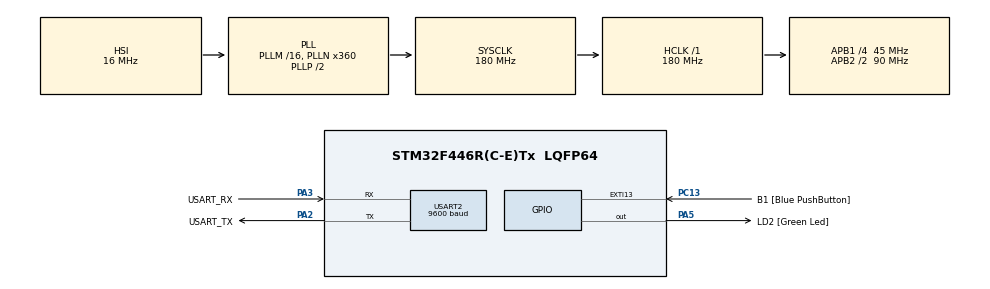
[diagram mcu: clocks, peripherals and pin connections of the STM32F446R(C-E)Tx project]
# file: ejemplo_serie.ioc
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Mcu.Family=STM32F4
Mcu.Name=STM32F446R(C-E)Tx
Mcu.Package=LQFP64
NVIC.PriorityGroup=NVIC_PRIORITYGROUP_0
NVIC.USART2_IRQn=true\:0\:0\:false\:false\:true\:true\:true\:true
PA13.GPIO_Label=TMS
PA13.Mode=Serial_Wire
PA13.Signal=SYS_JTMS-SWDIO
PA14.GPIO_Label=TCK
PA14.Mode=Serial_Wire
PA14.Signal=SYS_JTCK-SWCLK
PA2.GPIO_Label=USART_TX
PA2.Mode=Asynchronous
PA2.Signal=USART2_TX
PA3.GPIO_Label=USART_RX
PA3.Mode=Asynchronous
PA3.Signal=USART2_RX
PA5.GPIO_Label=LD2 [Green Led]
PA5.Signal=GPIO_Output
PB3.GPIO_Label=SWO
PB3.Signal=SYS_JTDO-SWO
PC13.GPIO_Label=B1 [Blue PushButton]
PC13.GPIO_ModeDefaultEXTI=GPIO_MODE_IT_FALLING
PC13.Signal=GPXTI13
PC14-OSC32_IN.Mode=LSE-External-Oscillator
PC14-OSC32_IN.Signal=RCC_OSC32_IN
PC15-OSC32_OUT.Mode=LSE-External-Oscillator
PC15-OSC32_OUT.Signal=RCC_OSC32_OUT
PH0-OSC_IN.Mode=HSE-External-Oscillator
PH0-OSC_IN.Signal=RCC_OSC_IN
PH1-OSC_OUT.Mode=HSE-External-Oscillator
PH1-OSC_OUT.Signal=RCC_OSC_OUT
ProjectManager.HeapSize=0x200
ProjectManager.StackSize=0x400
ProjectManager.TargetToolchain=STM32CubeIDE
RCC.48MHZClocksFreq_Value=84000000
RCC.AHBFreq_Value=180000000
RCC.APB1CLKDivider=RCC_HCLK_DIV4
RCC.APB1Freq_Value=45000000
RCC.APB1TimFreq_Value=90000000
RCC.APB2CLKDivider=RCC_HCLK_DIV2
RCC.APB2Freq_Value=90000000
RCC.APB2TimFreq_Value=180000000
RCC.CortexFreq_Value=180000000
RCC.FLatency-AdvancedSettings=FLASH_LATENCY_5
RCC.HCLKFreq_Value=180000000
RCC.HSE_VALUE=8000000
RCC.HSI_VALUE=16000000
RCC.PLLN=360
RCC.SYSCLKFreq_VALUE=180000000
RCC.SYSCLKSource=RCC_SYSCLKSOURCE_PLLCLK
RCC.USBFreq_Value=180000000
RCC.VCOOutputFreq_Value=360000000
USART2.BaudRate=9600
USART2.VirtualMode=VM_ASYNC
board=NUCLEO-F446RE

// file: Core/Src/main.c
/* USER CODE BEGIN Header */
/**
  ******************************************************************************
  * @file           : main.c
  * @brief          : Main program body
  ******************************************************************************
  * @attention
  *
  * Copyright (c) 2026 STMicroelectronics.
  * All rights reserved.
  *
  * This software is licensed under terms that can be found in the LICENSE file
  * in the root directory of this software component.
  * If no LICENSE file comes with this software, it is provided AS-IS.
  *
  ******************************************************************************
  */
/* USER CODE END Header */
#include "main.h"

/* USER CODE BEGIN Includes */
#include "cola.h"
#include <ctype.h>
#include <string.h>
#include <stdio.h>
/* USER CODE END Includes */

/* USER CODE BEGIN PM */
#define LEN_USART_BUFFERS 	(256)
#define ESPERA_LED_MS 		(250)
/* USER CODE END PM */

UART_HandleTypeDef huart2;

/* USER CODE BEGIN PV */
uint8_t rxserie_buffer[LEN_USART_BUFFERS];
uint8_t txserie_buffer[LEN_USART_BUFFERS];
uint8_t dato_rx;
uint8_t dato_tx;
uint8_t tx_en_progreso;
cola_t cola_rx;
cola_t cola_tx;
/* USER CODE END PV */

void SystemClock_Config(void);
static void MX_GPIO_Init(void);
static void MX_USART2_UART_Init(void);

/* USER CODE BEGIN 0 */
void HAL_UART_TxCpltCallback(UART_HandleTypeDef *huart)
{
	if(huart->Instance == USART2){
	        if(cola_haydatos(&cola_tx)){
	            dato_tx = cola_desencolar(&cola_tx);
	            tx_en_progreso = 1;
	            HAL_UART_Transmit_IT(huart, &dato_tx, 1);
	        }
	        else {
	        	tx_en_progreso = 0;
	        }
	    }
}

void HAL_UART_RxCpltCallback(UART_HandleTypeDef *huart)
{
	if(huart->Instance == USART2){
		cola_encolar(&cola_rx, dato_rx);
		HAL_UART_Receive_IT(huart, &dato_rx, sizeof(dato_rx));
	}
}

void encolar_string(cola_t *cola, char*s){
	while(*s){
		cola_encolar(cola, *s++);
	}
}
/* USER CODE END 0 */

int main(void)
{

  /* USER CODE BEGIN 1 */
  char s[LEN_USART_BUFFERS];
  uint32_t demora_led;
  /* USER CODE END 1 */

  /* MCU Configuration--------------------------------------------------------*/

  /* Reset of all peripherals, Initializes the Flash interface and the Systick. */
  HAL_Init();

  /* Configure the system clock */
  SystemClock_Config();

  /* Initialize all configured peripherals */
  MX_GPIO_Init();
  MX_USART2_UART_Init();
  /* USER CODE BEGIN 2 */
  cola_inicializar(&cola_rx, rxserie_buffer, LEN_USART_BUFFERS);
  cola_inicializar(&cola_tx, txserie_buffer, LEN_USART_BUFFERS);
  tx_en_progreso = 0;
  HAL_UART_Receive_IT(&huart2, &dato_rx, sizeof(dato_rx));
  demora_led = HAL_GetTick();
  /* USER CODE END 2 */

  /* Infinite loop */
  while (1)
  {

    /* USER CODE BEGIN 3 */
	if(cola_haydatos(&cola_rx)){
		char v = cola_desencolar(&cola_rx);
		snprintf(s,LEN_USART_BUFFERS,"%010lu\t%c\r\n",
			  HAL_GetTick(), toupper(v));
		encolar_string(&cola_tx, s);
	}

	__disable_irq();
	if(cola_haydatos(&cola_tx) && (!tx_en_progreso)) {
		dato_tx = cola_desencolar(&cola_tx);
		tx_en_progreso = 1;
		__enable_irq();
		HAL_UART_Transmit_IT(&huart2, &dato_tx, 1);
	}
	else {
		__enable_irq();
	}

	if((HAL_GetTick()-demora_led)>=ESPERA_LED_MS){
		demora_led = HAL_GetTick();
		HAL_GPIO_TogglePin(LD2_GPIO_Port, LD2_Pin);
	}
  }
  /* USER CODE END 3 */
}

void SystemClock_Config(void)
{
  RCC_OscInitTypeDef RCC_OscInitStruct = {0};
  RCC_ClkInitTypeDef RCC_ClkInitStruct = {0};

  /** Configure the main internal regulator output voltage
  */
  __HAL_RCC_PWR_CLK_ENABLE();
  __HAL_PWR_VOLTAGESCALING_CONFIG(PWR_REGULATOR_VOLTAGE_SCALE1);

  /** Initializes the RCC Oscillators according to the specified parameters
  * in the RCC_OscInitTypeDef structure.
  */
  RCC_OscInitStruct.OscillatorType = RCC_OSCILLATORTYPE_HSI;
  RCC_OscInitStruct.HSIState = RCC_HSI_ON;
  RCC_OscInitStruct.HSICalibrationValue = RCC_HSICALIBRATION_DEFAULT;
  RCC_OscInitStruct.PLL.PLLState = RCC_PLL_ON;
  RCC_OscInitStruct.PLL.PLLSource = RCC_PLLSOURCE_HSI;
  RCC_OscInitStruct.PLL.PLLM = 16;
  RCC_OscInitStruct.PLL.PLLN = 360;
  RCC_OscInitStruct.PLL.PLLP = RCC_PLLP_DIV2;
  RCC_OscInitStruct.PLL.PLLQ = 2;
  RCC_OscInitStruct.PLL.PLLR = 2;
  if (HAL_RCC_OscConfig(&RCC_OscInitStruct) != HAL_OK)
  {
    Error_Handler();
  }

  /** Activate the Over-Drive mode
  */
  if (HAL_PWREx_EnableOverDrive() != HAL_OK)
  {
    Error_Handler();
  }

  /** Initializes the CPU, AHB and APB buses clocks
  */
  RCC_ClkInitStruct.ClockType = RCC_CLOCKTYPE_HCLK|RCC_CLOCKTYPE_SYSCLK
                              |RCC_CLOCKTYPE_PCLK1|RCC_CLOCKTYPE_PCLK2;
  RCC_ClkInitStruct.SYSCLKSource = RCC_SYSCLKSOURCE_PLLCLK;
  RCC_ClkInitStruct.AHBCLKDivider = RCC_SYSCLK_DIV1;
  RCC_ClkInitStruct.APB1CLKDivider = RCC_HCLK_DIV4;
  RCC_ClkInitStruct.APB2CLKDivider = RCC_HCLK_DIV2;

  if (HAL_RCC_ClockConfig(&RCC_ClkInitStruct, FLASH_LATENCY_5) != HAL_OK)
  {
    Error_Handler();
  }
}

static void MX_USART2_UART_Init(void)
{

  huart2.Instance = USART2;
  huart2.Init.BaudRate = 9600;
  huart2.Init.WordLength = UART_WORDLENGTH_8B;
  huart2.Init.StopBits = UART_STOPBITS_1;
  huart2.Init.Parity = UART_PARITY_NONE;
  huart2.Init.Mode = UART_MODE_TX_RX;
  huart2.Init.HwFlowCtl = UART_HWCONTROL_NONE;
  huart2.Init.OverSampling = UART_OVERSAMPLING_16;
  if (HAL_UART_Init(&huart2) != HAL_OK)
  {
    Error_Handler();
  }

}

static void MX_GPIO_Init(void)
{
  GPIO_InitTypeDef GPIO_InitStruct = {0};

  /* GPIO Ports Clock Enable */
  __HAL_RCC_GPIOC_CLK_ENABLE();
  __HAL_RCC_GPIOH_CLK_ENABLE();
  __HAL_RCC_GPIOA_CLK_ENABLE();
  __HAL_RCC_GPIOB_CLK_ENABLE();

  /*Configure GPIO pin Output Level */
  HAL_GPIO_WritePin(LD2_GPIO_Port, LD2_Pin, GPIO_PIN_RESET);

  /*Configure GPIO pin : B1_Pin */
  GPIO_InitStruct.Pin = B1_Pin;
  GPIO_InitStruct.Mode = GPIO_MODE_IT_FALLING;
  GPIO_InitStruct.Pull = GPIO_NOPULL;
  HAL_GPIO_Init(B1_GPIO_Port, &GPIO_InitStruct);

  /*Configure GPIO pin : LD2_Pin */
  GPIO_InitStruct.Pin = LD2_Pin;
  GPIO_InitStruct.Mode = GPIO_MODE_OUTPUT_PP;
  GPIO_InitStruct.Pull = GPIO_NOPULL;
  GPIO_InitStruct.Speed = GPIO_SPEED_FREQ_LOW;
  HAL_GPIO_Init(LD2_GPIO_Port, &GPIO_InitStruct);

}

void Error_Handler(void)
{
  __disable_irq();
  while (1)
  {
  }
}
